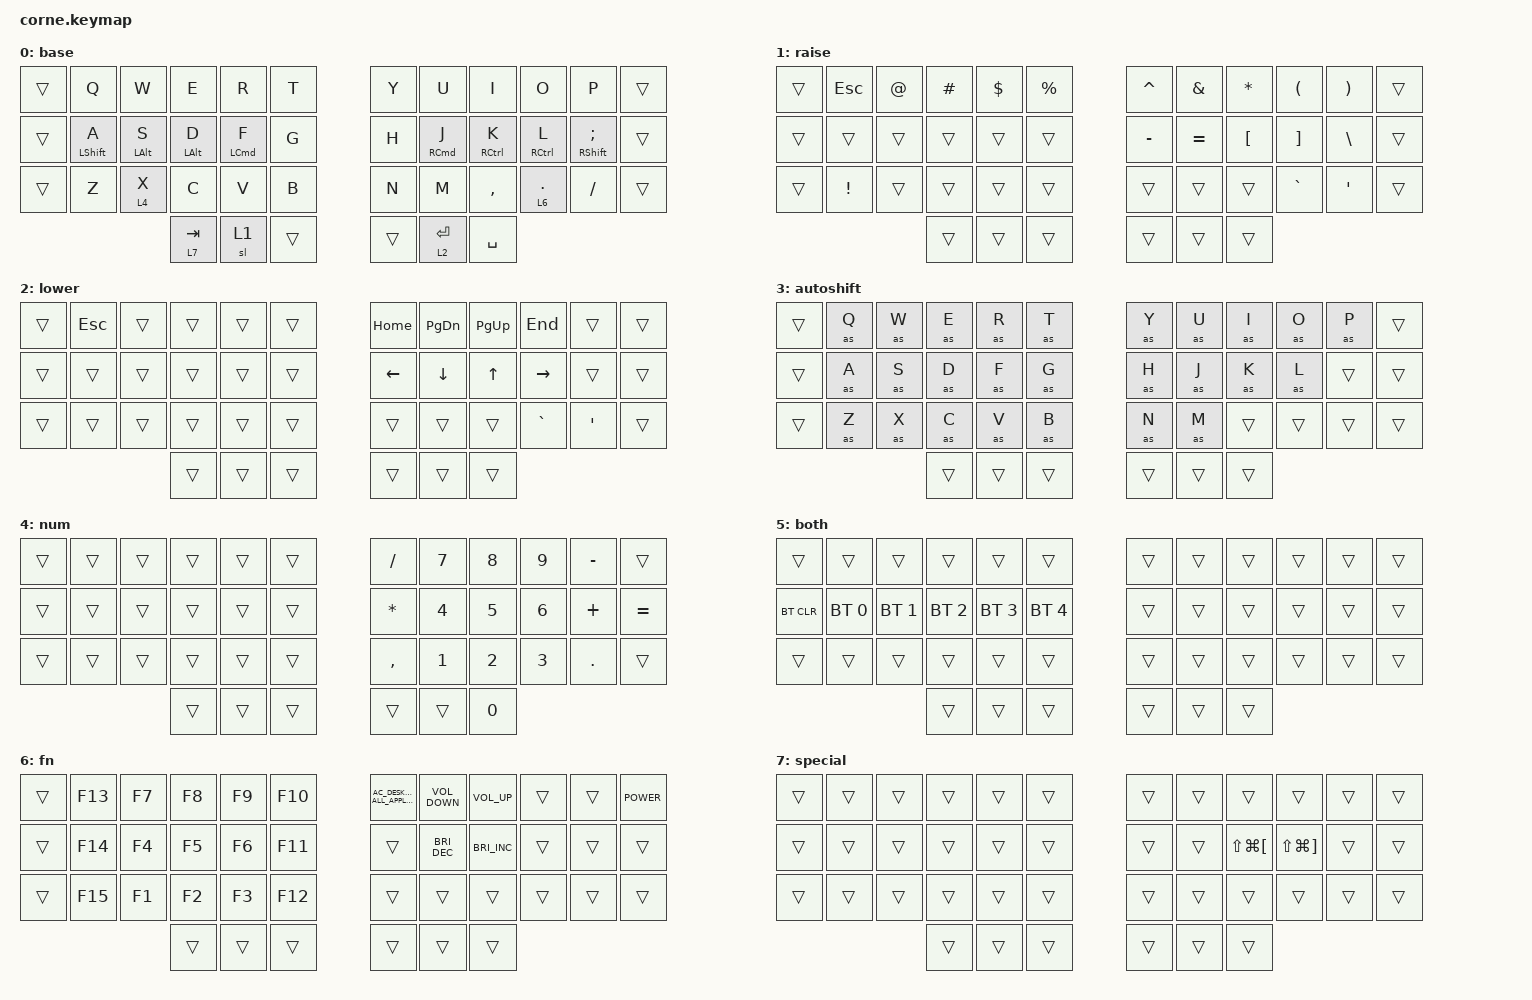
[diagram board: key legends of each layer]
#include <behaviors.dtsi>
#include <dt-bindings/zmk/bt.h>
#include <dt-bindings/zmk/keys.h>
#include <dt-bindings/zmk/rgb.h>

// dt-formatter: indent = "  "
// dt-formatter: multilineIntegerCellsIndent = "reindent"
// dt-formatter: multilineListCommaStyle = "leading"

&sk { /delete-property/ ignore-modifiers; };

/ {
  combos {
    compatible = "zmk,combos";

    tab {
      key-positions = <14 15>;
      bindings = <&kp TAB>;
    };

    caps_word {
      key-positions = <17 18>;
      bindings = <&caps_word>;
    };

    delete {
      key-positions = <32 33>;
      bindings = <&kp DELETE>;
    };

    backspace {
      bindings = <&kp BACKSPACE>;
      key-positions = <20 21>;
    };

    leader_leader_s {
      bindings = <&leader_leader_s>;
      key-positions = <16 19>;
    };

    cmd_shift {
      bindings = <&kp LS(LCMD)>;
      key-positions = <13 36>;
    };
  };

  macros {
    greeting: greeting {
      compatible = "zmk,behavior-macro";
      #binding-cells = <0>;
      label = "greeting";
      bindings = <&kp H &kp E &kp L &kp L &kp O>;
    };

    shift: with_lshift {
      compatible = "zmk,behavior-macro-one-param";
      #binding-cells = <1>;
      label = "KEY_PRESS_WITH_LEFT_SHIFT_MODIFIER";
      bindings
        = <&macro_press>
        , <&kp LSHFT>
        , <&macro_tap>
        , <&macro_param_1to1 &kp MACRO_PLACEHOLDER>
        , <&macro_release>
        , <&kp LSHFT>
        ;
    };

    as: autoshift {
      compatible = "zmk,behavior-macro-one-param";
      #binding-cells = <1>;
      label = "AUTOSHIFT_KEYPRESS";
      bindings
        = <&macro_press>
        , <&macro_param_1to1 &macro_param_1to2 &as_ht MACRO_PLACEHOLDER MACRO_PLACEHOLDER>
        , <&macro_pause_for_release>
        , <&macro_release>
        , <&macro_param_1to1 &macro_param_1to2 &as_ht MACRO_PLACEHOLDER MACRO_PLACEHOLDER>
        ;
    };

    leader_leader_s: leader_leader {
      compatible = "zmk,behavior-macro";
      #binding-cells = <0>;
      bindings = <&kp ESCAPE &kp SPACE &kp SPACE &kp S>;
      label = "LEADER_LEADER";
    };
  };

  behaviors {
    as_ht: autoshift_hold_tap {
      compatible = "zmk,behavior-hold-tap";
      #binding-cells = <2>;
      label = "AUTOSHIFT_HOLD_TAP";
      bindings = <&shift>, <&kp>;

      tapping-term-ms = <190>;
    };

    hml: homewrow_mods_left {
      compatible = "zmk,behavior-hold-tap";
      #binding-cells = <2>;
      label = "HOMEROW_MODS_LEFT_HAND";
      bindings = <&kp>, <&kp>;

      tapping-term-ms = <200>;
      hold-trigger-key-positions = <6 7 8 9 10 11 18 19 20 21 22 23 30 31 32 33 34 35 39 40 41>;
      flavor = "tap-preferred";
    };

    hmr: homewrow_mods_right {
      compatible = "zmk,behavior-hold-tap";
      #binding-cells = <2>;
      label = "HOMEROW_MODS_RIGHT_HAND";
      bindings = <&kp>, <&kp>;

      tapping-term-ms = <200>;
      hold-trigger-key-positions = <0 1 2 3 4 5 12 13 14 15 16 17 24 25 26 27 28 29 36 37 38>;
      flavor = "tap-preferred";
    };

    capdance: capdance {
      compatible = "zmk,behavior-tap-dance";
      label = "CAPDANCE";
      #binding-cells = <0>;
      bindings = <&sl 4>, <&kp CAPS>;
    };

    volknob: volume_encoder {
      compatible = "zmk,behavior-sensor-rotate";
      label = "ENCODER_VOLUME_KNOB";
      #sensor-binding-cells = <0>;
      bindings = <&kp C_VOL_UP>, <&kp C_VOL_DN>;
    };

    rgbknob: rgb_encoder {
      compatible = "zmk,behavior-sensor-rotate-var";
      label = "ENCODER_RGB";
      #sensor-binding-cells = <2>;
      bindings = <&rgb_ug>, <&rgb_ug>;
    };

    hmr2holdpref: hmr2holdpref {
      compatible = "zmk,behavior-hold-tap";
      #binding-cells = <2>;
      label = "HMR2HOLDPREF";
      bindings = <&sl>, <&kp>;

      tapping-term-ms = <200>;
      hold-trigger-key-positions = <0 1 2 3 4 5 12 13 14 15 16 17 24 25 26 27 28 29 36 37 38>;
      flavor = "hold-preferred";
    };

    hml2holdpref: hml2holdpref {
      compatible = "zmk,behavior-hold-tap";
      #binding-cells = <2>;
      label = "HML2HOLDPREF";
      bindings = <&sl>, <&kp>;

      tapping-term-ms = <200>;
      hold-trigger-key-positions = <6 7 8 9 10 11 18 19 20 21 22 23 30 31 32 33 34 35 39 40 41>;
      flavor = "hold-preferred";
    };
  };

  conditional_layers {
    compatible = "zmk,conditional-layers";

    tri_layer {
      if-layers = <2 1>;
      then-layer = <6>;
    };
  };

  keymap {
    compatible = "zmk,keymap";

    base {
      bindings = <
        &trans  &kp Q              &kp W              &kp E                &kp R                &kp T     &kp Y   &kp U                   &kp I                 &kp O                 &kp P                       &trans
        &trans  &hml LEFT_SHIFT A  &hml LEFT_ALT S    &hml LEFT_ALT D      &hml LEFT_COMMAND F  &kp G     &kp H   &hml RIGHT_COMMAND J    &hmr RIGHT_CONTROL K  &hmr RIGHT_CONTROL L  &hmr RIGHT_SHIFT SEMICOLON  &trans
        &trans  &kp Z              &hmr2holdpref 4 X  &kp C                &kp V                &kp B     &kp N   &kp M                   &kp COMMA             &hmr2holdpref 6 DOT   &kp FSLH                    &trans
                                                      &hml2holdpref 7 TAB  &sl 1                &trans    &trans  &hml2holdpref 2 RETURN  &kp SPACE
      >;
    };

    raise {
      bindings = <
        &trans  &kp ESCAPE  &kp AT  &kp HASH  &kp DLLR  &kp PRCNT    &kp CARET  &kp AMPS   &kp STAR  &kp LPAR   &kp RPAR  &trans
        &trans  &trans      &trans  &trans    &trans    &trans       &kp MINUS  &kp EQUAL  &kp LBKT  &kp RBKT   &kp BSLH  &trans
        &trans  &kp EXCL    &trans  &trans    &trans    &trans       &trans     &trans     &trans    &kp GRAVE  &kp APOS  &trans
                                    &trans    &trans    &trans       &trans     &trans     &trans
      >;
    };

    lower {
      bindings = <
        &trans  &kp ESCAPE  &trans  &trans  &trans  &trans    &kp HOME        &kp PG_DN       &kp PG_UP     &kp END          &trans    &trans
        &trans  &trans      &trans  &trans  &trans  &trans    &kp LEFT_ARROW  &kp DOWN_ARROW  &kp UP_ARROW  &kp RIGHT_ARROW  &trans    &trans
        &trans  &trans      &trans  &trans  &trans  &trans    &trans          &trans          &trans        &kp GRAVE        &kp APOS  &trans
                                    &trans  &trans  &trans    &trans          &trans          &trans
      >;
    };

    autoshift {
      bindings = <
        &trans  &as Q  &as W  &as E   &as R   &as T     &as Y   &as U   &as I   &as O   &as P   &trans
        &trans  &as A  &as S  &as D   &as F   &as G     &as H   &as J   &as K   &as L   &trans  &trans
        &trans  &as Z  &as X  &as C   &as V   &as B     &as N   &as M   &trans  &trans  &trans  &trans
                              &trans  &trans  &trans    &trans  &trans  &trans
      >;
    };

    num {
      bindings = <
        &trans  &trans  &trans  &trans  &trans  &trans    &kp SLASH     &kp NUMBER_7  &kp NUMBER_8  &kp NUMBER_9  &kp MINUS   &trans
        &trans  &trans  &trans  &trans  &trans  &trans    &kp ASTERISK  &kp NUMBER_4  &kp NUMBER_5  &kp NUMBER_6  &kp PLUS    &kp EQUAL
        &trans  &trans  &trans  &trans  &trans  &trans    &kp COMMA     &kp NUMBER_1  &kp NUMBER_2  &kp NUMBER_3  &kp PERIOD  &trans
                                &trans  &trans  &trans    &trans        &trans        &kp NUMBER_0
      >;
    };

    both {
      bindings = <
        &trans      &trans        &trans        &trans        &trans        &trans          &trans  &trans  &trans  &trans  &trans  &trans
        &bt BT_CLR  &bt BT_SEL 0  &bt BT_SEL 1  &bt BT_SEL 2  &bt BT_SEL 3  &bt BT_SEL 4    &trans  &trans  &trans  &trans  &trans  &trans
        &trans      &trans        &trans        &trans        &trans        &trans          &trans  &trans  &trans  &trans  &trans  &trans
                                                &trans        &trans        &trans          &trans  &trans  &trans
      >;
    };

    fn {
      bindings = <
        &trans  &kp F13  &kp F7  &kp F8  &kp F9  &kp F10    &kp C_AC_DESKTOP_SHOW_ALL_APPLICATIONS  &kp C_VOLUME_DOWN     &kp C_VOLUME_UP       &trans  &trans  &kp C_POWER
        &trans  &kp F14  &kp F4  &kp F5  &kp F6  &kp F11    &trans                                  &kp C_BRIGHTNESS_DEC  &kp C_BRIGHTNESS_INC  &trans  &trans  &trans
        &trans  &kp F15  &kp F1  &kp F2  &kp F3  &kp F12    &trans                                  &trans                &trans                &trans  &trans  &trans
                                 &trans  &trans  &trans     &trans                                  &trans                &trans
      >;
    };

    special {
      bindings = <
        &trans  &trans  &trans  &trans  &trans  &trans    &trans  &trans  &trans            &trans            &trans  &trans
        &trans  &trans  &trans  &trans  &trans  &trans    &trans  &trans  &kp LS(LG(LBKT))  &kp LS(LG(RBKT))  &trans  &trans
        &trans  &trans  &trans  &trans  &trans  &trans    &trans  &trans  &trans            &trans            &trans  &trans
                                &trans  &trans  &trans    &trans  &trans  &trans
      >;
    };
  };
};
